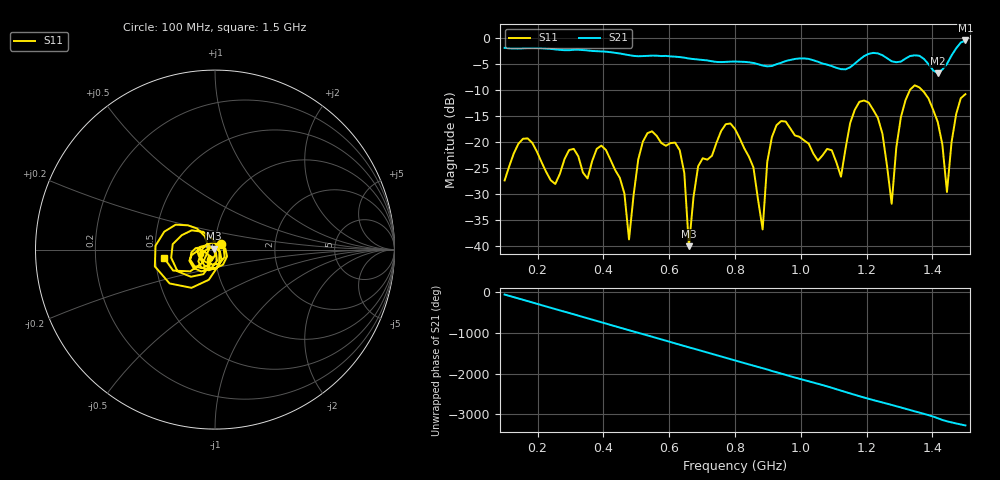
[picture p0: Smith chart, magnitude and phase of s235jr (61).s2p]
! NanoVNA-App
! Date: 2025-09-25 15:04:38
! Start: 100MHz Stop: 1,5GHz Points: 101
! S-Parameter data: F S11 S21 S12 S22
# Hz S RI R 50
!  Frequency  S11_Real  S11_Imag  S21_Real  S21_Imag  S12_Real  S12_Imag  S22_Real  S22_Imag
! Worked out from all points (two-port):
!   101 points, 100 MHz to 1.5 GHz, reference 50 ohm
!   highest |S21| = -0.54 dB at 1.5 GHz (marker M1); lowest = -6.8 dB at 1.416 GHz (marker M2)
!   |S21| within 3 dB of the highest: start of sweep to 498.4 MHz; 1.193 GHz to 1.252 GHz (59.17 MHz wide, 4.84 % of centre) (the widest 2 of 6)
!   lowest |S11| = -40.1 dB at 660 MHz (marker M3), VSWR 1.02, Z = 49.2 + j0.589 ohm
!   |S11| at or under -10 dB: start of sweep to 1.332 GHz; 1.367 GHz to end of sweep
!   S12 and S22 are empty: the file has one direction only
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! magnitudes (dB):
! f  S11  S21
! 100 MHz  -27.5  -2.0
! 156 MHz  -19.5  -2.0
! 338 MHz  -26.0  -2.4
! 408 MHz  -21.6  -2.7
! 478 MHz  -38.8  -3.4
! 520 MHz  -20.0  -3.5
! 576 MHz  -20.3  -3.5
! 632 MHz  -21.7  -3.7
! 660 MHz  -40.1  -4.0
! 688 MHz  -24.8  -4.2
! 800 MHz  -17.6  -4.6
! 884 MHz  -36.9  -5.4
! 898 MHz  -23.9  -5.5
! 926 MHz  -16.9  -5.1
! 1.038 GHz  -22.3  -4.4
! 1.122 GHz  -26.8  -6.1
! 1.206 GHz  -12.5  -3.1
! 1.276 GHz  -32.0  -4.5
! 1.332 GHz  -10.0  -3.5
! 1.416 GHz  -16.2  -6.8
! 1.444 GHz  -29.7  -5.1
! 1.5 GHz  -10.9  -0.5
